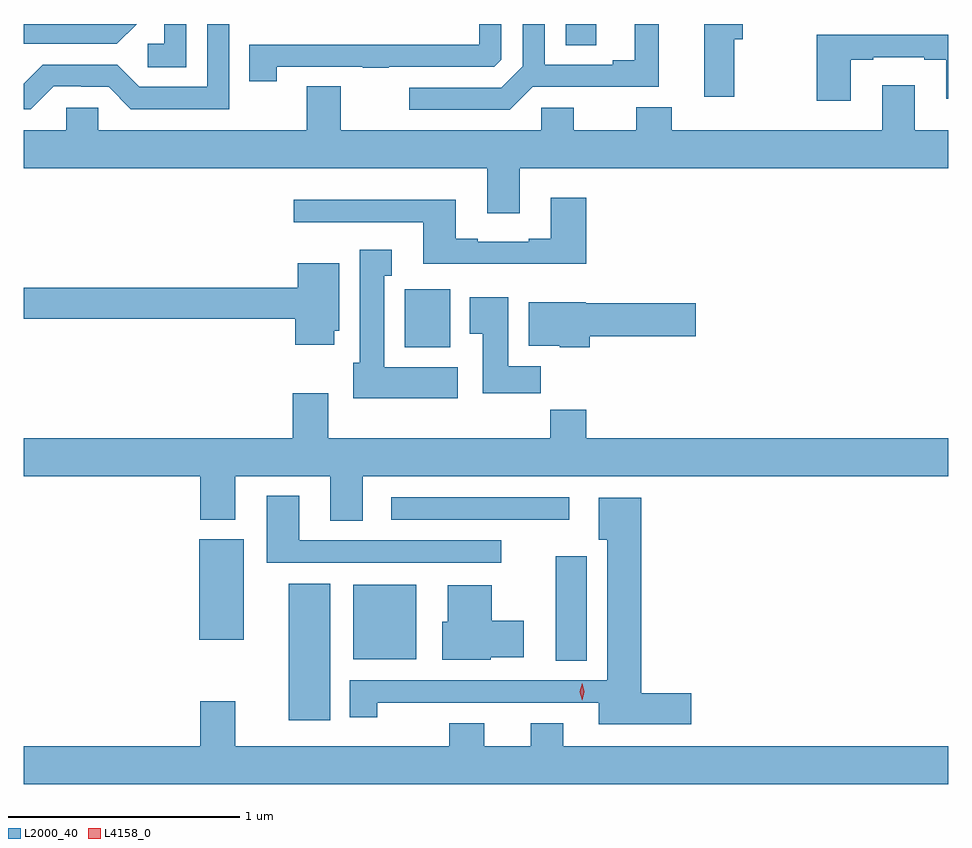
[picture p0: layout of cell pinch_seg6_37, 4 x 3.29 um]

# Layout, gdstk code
import gdstk
lib = gdstk.Library(unit=1e-6, precision=1e-09)
def R(c, l, rs):  # rectangles x0, y0, x1, y1
    for r in rs: c.add(gdstk.rectangle(r[:2], r[2:], *l))
def P(c, l, *ps):  # polygons
    for p in ps: c.add(gdstk.Polygon(p, *l))
L2000_40 = (2000, 40)
L4158_0 = (4158, 0)

pinch_seg6_37 = lib.new_cell('pinch_seg6_37')
R(pinch_seg6_37, L2000_40, [(950.963,972.92,951.142,973.51), (952.118,973.177,952.252,973.63), (951.242,973.184,951.514,973.507), (950.576,973.268,950.767,973.702), (951.405,973.788,952.177,973.884), (951.465,974.534,951.661,974.784), (952.16,975.841,952.294,975.932)])
P(pinch_seg6_37, L2000_40, [(950.52,975.932),(950.424,975.932),(950.424,975.846),(950.352,975.846),(950.352,975.745),(950.52,975.745)],
  [(950.304,975.932),(949.816,975.932),(949.816,975.846),(950.218,975.846)],
  [(949.947,975.663),(950.064,975.663),(950.064,975.66),(950.184,975.66),(950.28,975.564),(950.706,975.564),(950.706,975.932),(950.61,975.932),(950.61,975.66),(950.316,975.66),(950.22,975.756),(949.899,975.756),(949.816,975.673),(949.816,975.563),(949.847,975.563)],
  [(952.018,975.66),(952.564,975.66),(952.564,975.932),(952.46,975.932),(952.46,975.776),(952.364,975.776),(952.364,975.756),(952.071,975.756),(952.071,975.932),(951.975,975.932),(951.975,975.75),(951.882,975.657),(951.483,975.657),(951.483,975.561),(951.919,975.561)],
  [(952.89,975.866),(952.926,975.866),(952.926,975.932),(952.76,975.932),(952.76,975.618),(952.89,975.618)],
  [(950.91,975.747),(951.283,975.747),(951.283,975.742),(951.395,975.742),(951.395,975.747),(951.852,975.747),(951.882,975.777),(951.882,975.932),(951.786,975.932),(951.786,975.843),(950.791,975.843),(950.791,975.684),(950.91,975.684)],
  [(953.395,975.777),(953.491,975.777),(953.491,975.789),(953.711,975.789),(953.711,975.777),(953.807,975.777),(953.807,975.608),(953.816,975.608),(953.816,975.886),(953.248,975.886),(953.248,975.6),(953.395,975.6)],
  [(950.001,975.57),(950.001,975.472),(949.816,975.472),(949.816,975.308),(951.821,975.308),(951.821,975.114),(951.961,975.114),(951.961,975.308),(953.816,975.308),(953.816,975.472),(953.671,975.472),(953.671,975.667),(953.531,975.667),(953.531,975.472),(952.619,975.472),(952.619,975.571),(952.466,975.571),(952.466,975.472),(952.195,975.472),(952.195,975.57),(952.056,975.57),(952.056,975.472),(951.187,975.472),(951.187,975.662),(951.04,975.662),(951.04,975.472),(950.139,975.472),(950.139,975.57)],
  [(952.25,975.181),(952.097,975.181),(952.097,975.004),(952.001,975.004),(952.001,974.991),(951.781,974.991),(951.781,975.004),(951.685,975.004),(951.685,975.172),(950.985,975.172),(950.985,975.075),(951.545,975.075),(951.545,974.894),(952.25,974.894)],
  [(951.694,974.446),(951.376,974.446),(951.376,974.843),(951.409,974.843),(951.409,974.956),(951.269,974.956),(951.269,974.466),(951.242,974.466),(951.242,974.312),(951.694,974.312)],
  [(951.16,974.604),(951.181,974.604),(951.181,974.896),(951.002,974.896),(951.002,974.792),(949.816,974.792),(949.816,974.656),(950.99,974.656),(950.99,974.544),(951.16,974.544)],
  [(952.052,974.452),(951.913,974.452),(951.913,974.749),(951.746,974.749),(951.746,974.593),(951.803,974.593),(951.803,974.334),(952.052,974.334)],
  [(952.265,974.581),(952.723,974.581),(952.723,974.723),(952.248,974.723),(952.248,974.728),(952.001,974.728),(952.001,974.54),(952.134,974.54),(952.134,974.534),(952.265,974.534)],
  [(951.283,973.976),(953.816,973.976),(953.816,974.14),(952.25,974.14),(952.25,974.264),(952.093,974.264),(952.093,974.14),(951.133,974.14),(951.133,974.335),(950.981,974.335),(950.981,974.14),(949.816,974.14),(949.816,973.976),(950.579,973.976),(950.579,973.787),(950.731,973.787),(950.731,973.976),(951.143,973.976),(951.143,973.783),(951.283,973.783)],
  [(951.883,973.698),(951.007,973.698),(951.007,973.891),(950.867,973.891),(950.867,973.602),(951.883,973.602)],
  [(952.705,973.037),(952.487,973.037),(952.487,973.882),(952.304,973.882),(952.304,973.7),(952.34,973.7),(952.34,973.092),(951.227,973.092),(951.227,972.933),(951.345,972.933),(951.345,972.995),(951.572,972.995),(951.572,972.996),(952.304,972.996),(952.304,972.902),(952.705,972.902)],
  [(951.837,973.193),(951.979,973.193),(951.979,973.351),(951.841,973.351),(951.841,973.504),(951.65,973.504),(951.65,973.347),(951.626,973.347),(951.626,973.181),(951.837,973.181)],
  [(953.816,972.808),(952.15,972.808),(952.15,972.907),(952.01,972.907),(952.01,972.808),(951.808,972.808),(951.808,972.907),(951.656,972.907),(951.656,972.808),(950.731,972.808),(950.731,973.003),(950.579,973.003),(950.579,972.808),(949.816,972.808),(949.816,972.644),(953.816,972.644)])
P(pinch_seg6_37, L4158_0, [(952.232,973.007),(952.232,973.007),(952.222,973.043),(952.233,973.079),(952.233,973.079),(952.233,973.079),(952.242,973.043),(952.232,973.007)])

lib.write_gds('pinch_seg6_37.gds')
